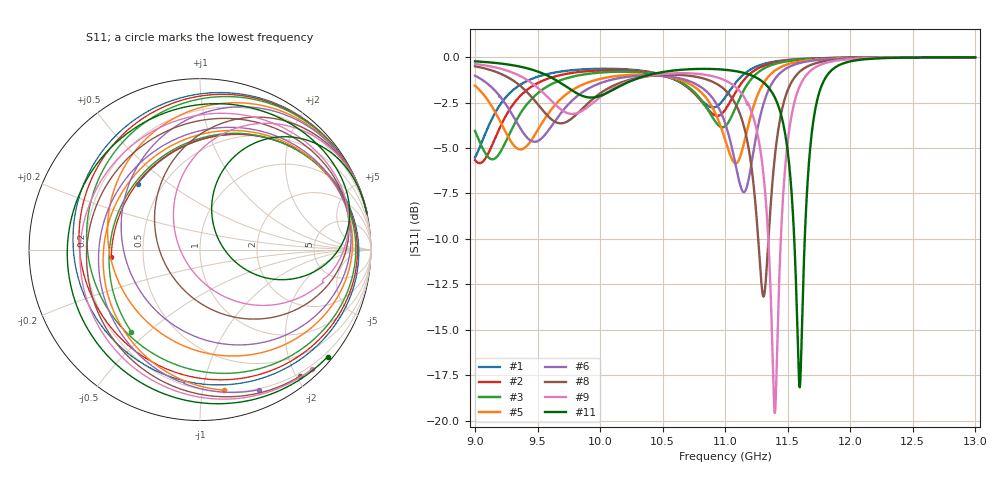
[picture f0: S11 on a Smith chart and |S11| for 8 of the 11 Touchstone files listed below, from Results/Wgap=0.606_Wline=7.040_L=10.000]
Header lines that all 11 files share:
! TOUCHSTONE file generated by CST DESIGN STUDIO
! Project name: C:\Work\MatlabApps\UnitCellOptimizationMatlab\CST\unitcell.cst
! Tree item: Tasks\Sweep1\SPara1\S-Parameters
! Header version: 2024
! Port assignment regex: !\s*Touchstone port\s*([0-9]+)\s*=\s*(CST MWS port|CST DES external port|CST DES block port)\s*(.+)\s* \(\"(.*)\"\)(\s*mode\s*([0-9]+))?.*
! Touchstone port assignment:
! Touchstone port 1 = CST DES external port 1 ("")
# GHz S MA R 50
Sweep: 9 GHz to 13 GHz
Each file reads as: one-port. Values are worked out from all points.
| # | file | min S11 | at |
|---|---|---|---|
| 1 | DS_for_MWS-run-0001.s1p | -5.5 dB | 9 GHz |
| 2 | DS_for_MWS-run-0002.s1p | -5.8 dB | 9.037 GHz |
| 3 | DS_for_MWS-run-0003.s1p | -5.6 dB | 9.139 GHz |
| 4 | DS_for_MWS-run-0004.s1p | -5.4 dB | 9.25 GHz |
| 5 | DS_for_MWS-run-0005.s1p | -5.8 dB | 11.09 GHz |
| 6 | DS_for_MWS-run-0006.s1p | -7.4 dB | 11.15 GHz |
| 7 | DS_for_MWS-run-0007.s1p | -9.7 dB | 11.22 GHz |
| 8 | DS_for_MWS-run-0008.s1p | -13.2 dB | 11.31 GHz |
| 9 | DS_for_MWS-run-0009.s1p | -19.6 dB | 11.4 GHz |
| 10 | DS_for_MWS-run-0010.s1p | -38.8 dB | 11.5 GHz |
| 11 | DS_for_MWS-run-0011.s1p | -18.2 dB | 11.6 GHz |
